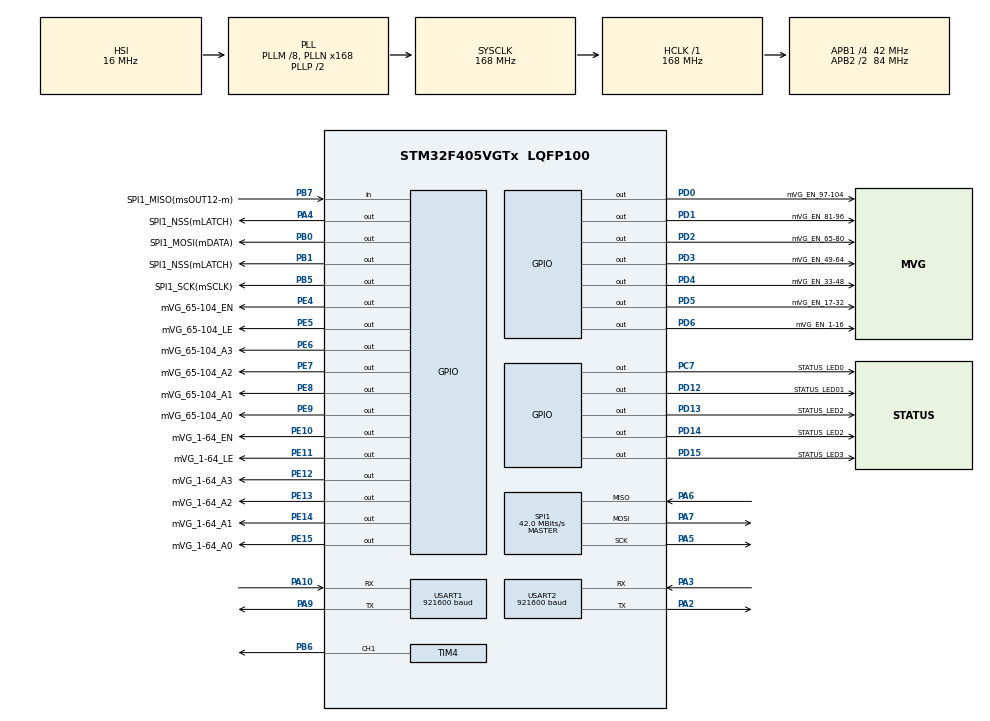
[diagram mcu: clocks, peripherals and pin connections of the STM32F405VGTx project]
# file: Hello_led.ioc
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Dma.Request0=USART2_TX
Dma.Request1=USART2_RX
Dma.USART2_RX.1.Channel=DMA_CHANNEL_4
Dma.USART2_RX.1.Direction=DMA_PERIPH_TO_MEMORY
Dma.USART2_RX.1.FIFOMode=DMA_FIFOMODE_ENABLE
Dma.USART2_RX.1.FIFOThreshold=DMA_FIFO_THRESHOLD_HALFFULL
Dma.USART2_RX.1.Instance=DMA1_Stream5
Dma.USART2_RX.1.MemBurst=DMA_MBURST_SINGLE
Dma.USART2_RX.1.MemDataAlignment=DMA_MDATAALIGN_BYTE
Dma.USART2_RX.1.MemInc=DMA_MINC_ENABLE
Dma.USART2_RX.1.Mode=DMA_NORMAL
Dma.USART2_RX.1.PeriphBurst=DMA_PBURST_SINGLE
Dma.USART2_RX.1.PeriphDataAlignment=DMA_PDATAALIGN_BYTE
Dma.USART2_RX.1.PeriphInc=DMA_PINC_DISABLE
Dma.USART2_RX.1.Priority=DMA_PRIORITY_LOW
Dma.USART2_TX.0.Channel=DMA_CHANNEL_4
Dma.USART2_TX.0.Direction=DMA_MEMORY_TO_PERIPH
Dma.USART2_TX.0.FIFOMode=DMA_FIFOMODE_ENABLE
Dma.USART2_TX.0.FIFOThreshold=DMA_FIFO_THRESHOLD_HALFFULL
Dma.USART2_TX.0.Instance=DMA1_Stream6
Dma.USART2_TX.0.MemBurst=DMA_MBURST_SINGLE
Dma.USART2_TX.0.MemDataAlignment=DMA_MDATAALIGN_BYTE
Dma.USART2_TX.0.MemInc=DMA_MINC_ENABLE
Dma.USART2_TX.0.Mode=DMA_NORMAL
Dma.USART2_TX.0.PeriphBurst=DMA_PBURST_SINGLE
Dma.USART2_TX.0.PeriphDataAlignment=DMA_PDATAALIGN_BYTE
Dma.USART2_TX.0.PeriphInc=DMA_PINC_DISABLE
Dma.USART2_TX.0.Priority=DMA_PRIORITY_LOW
FREERTOS.INCLUDE_eTaskGetState=1
FREERTOS.INCLUDE_vTaskCleanUpResources=1
FREERTOS.INCLUDE_vTaskDelayUntil=1
FREERTOS.INCLUDE_xEventGroupSetBitFromISR=1
FREERTOS.INCLUDE_xTimerPendFunctionCall=1
FREERTOS.Mutexes01=myMutexVsync
FREERTOS.Queues01=myQueueUart,32,uint8_t,NULL
FREERTOS.Tasks01=defaultTask,0,128,StartDefaultTask;myWriteTask,0,128,StartWriteTask;myVsyncTask,0,128,StartVyncTask;myUartTask,2,128,StartUartTask;myTask05,-3,128,StartTask05
FREERTOS.Timers01=myTimer01,Callback01,osTimerPeriodic;myTimer02,HAK_IncTick,osTimerPeriodic
FREERTOS.configUSE_TIMERS=1
Mcu.Family=STM32F4
Mcu.Name=STM32F405VGTx
Mcu.Package=LQFP100
NVIC.DMA1_Stream5_IRQn=true\:5\:0\:false
NVIC.DMA1_Stream6_IRQn=true\:5\:0\:false
NVIC.PriorityGroup=NVIC_PRIORITYGROUP_4
NVIC.RTC_Alarm_IRQn=true\:5\:0\:false
NVIC.RTC_WKUP_IRQn=true\:5\:0\:false
NVIC.SPI1_IRQn=true\:5\:0\:false
NVIC.TIM1_BRK_TIM9_IRQn=true\:5\:0\:false
NVIC.TIM1_CC_IRQn=true\:5\:0\:false
NVIC.TIM1_UP_TIM10_IRQn=true\:5\:0\:false
NVIC.TIM4_IRQn=true\:5\:0\:false
NVIC.TIM5_IRQn=true\:0\:0\:false
NVIC.TIM6_DAC_IRQn=true\:5\:0\:false
NVIC.TIM8_UP_TIM13_IRQn=true\:5\:0\:false
NVIC.TimeBase=TIM5_IRQn
NVIC.TimeBaseIP=TIM5
NVIC.USART1_IRQn=true\:5\:0\:false
NVIC.USART2_IRQn=true\:5\:0\:false
NVIC.WWDG_IRQn=true\:5\:0\:false
PA10.GPIO_Speed=GPIO_SPEED_FAST
PA10.Mode=Asynchronous
PA10.Signal=USART1_RX
PA13.Mode=JTAG(5-pin)
PA13.Signal=SYS_JTMS-SWDIO
PA14.Mode=JTAG(5-pin)
PA14.Signal=SYS_JTCK-SWCLK
PA15.Mode=JTAG(5-pin)
PA15.Signal=SYS_JTDI
PA2.GPIO_Speed=GPIO_SPEED_FAST
PA2.Mode=Asynchronous
PA2.Signal=USART2_TX
PA3.GPIO_Speed=GPIO_SPEED_FAST
PA3.Mode=Asynchronous
PA3.Signal=USART2_RX
PA4.GPIO_Label=SPI1_NSS(mLATCH)
PA4.GPIO_Speed=GPIO_SPEED_HIGH
PA4.Signal=GPIO_Output
PA5.Mode=Full_Duplex_Master
PA5.Signal=SPI1_SCK
PA6.Mode=Full_Duplex_Master
PA6.Signal=SPI1_MISO
PA7.Mode=Full_Duplex_Master
PA7.Signal=SPI1_MOSI
PA9.GPIO_Speed=GPIO_SPEED_FAST
PA9.Mode=Asynchronous
PA9.Signal=USART1_TX
PB0.GPIO_Label=SPI1_MOSI(mDATA)
PB0.GPIO_Speed=GPIO_SPEED_HIGH
PB0.Signal=GPIO_Output
PB1.GPIO_Label=SPI1_NSS(mLATCH)
PB1.GPIO_Speed=GPIO_SPEED_HIGH
PB1.Signal=GPIO_Output
PB3.Mode=JTAG(5-pin)
PB3.Signal=SYS_JTDO-SWO
PB4.Mode=JTAG(5-pin)
PB4.Signal=SYS_JTRST
PB5.GPIO_Label=SPI1_SCK(mSCLK)
PB5.GPIO_Speed=GPIO_SPEED_HIGH
PB5.Signal=GPIO_Output
PB6.Signal=S_TIM4_CH1
PB7.GPIO_Label=SPI1_MISO(msOUT12-m)
PB7.Signal=GPIO_Input
PC7.GPIO_Label=STATUS_LED0
PC7.Signal=GPIO_Output
PD0.GPIO_Label=mVG_EN_97-104
PD0.GPIO_Speed=GPIO_SPEED_HIGH
PD0.Signal=GPIO_Output
PD1.GPIO_Label=mVG_EN_81-96
PD1.GPIO_Speed=GPIO_SPEED_HIGH
PD1.Signal=GPIO_Output
PD12.GPIO_Label=STATUS_LED01
PD12.Signal=GPIO_Output
PD13.GPIO_Label=STATUS_LED2
PD13.Signal=GPIO_Output
PD14.GPIO_Label=STATUS_LED2
PD14.Signal=GPIO_Output
PD15.GPIO_Label=STATUS_LED3
PD15.Signal=GPIO_Output
PD2.GPIO_Label=mVG_EN_65-80
PD2.GPIO_Speed=GPIO_SPEED_HIGH
PD2.Signal=GPIO_Output
PD3.GPIO_Label=mVG_EN_49-64
PD3.GPIO_Speed=GPIO_SPEED_HIGH
PD3.Signal=GPIO_Output
PD4.GPIO_Label=mVG_EN_33-48
PD4.GPIO_Speed=GPIO_SPEED_HIGH
PD4.Signal=GPIO_Output
PD5.GPIO_Label=mVG_EN_17-32
PD5.GPIO_Speed=GPIO_SPEED_HIGH
PD5.Signal=GPIO_Output
PD6.GPIO_Label=mVG_EN_1-16
PD6.GPIO_Speed=GPIO_SPEED_HIGH
PD6.Signal=GPIO_Output
PE10.GPIO_Label=mVG_1-64_EN
PE10.GPIO_Speed=GPIO_SPEED_HIGH
PE10.Signal=GPIO_Output
PE11.GPIO_Label=mVG_1-64_LE
PE11.GPIO_Speed=GPIO_SPEED_HIGH
PE11.Signal=GPIO_Output
PE12.GPIO_Label=mVG_1-64_A3
PE12.GPIO_Speed=GPIO_SPEED_HIGH
PE12.Signal=GPIO_Output
PE13.GPIO_Label=mVG_1-64_A2
PE13.GPIO_Speed=GPIO_SPEED_HIGH
PE13.Signal=GPIO_Output
PE14.GPIO_Label=mVG_1-64_A1
PE14.GPIO_Speed=GPIO_SPEED_HIGH
PE14.Signal=GPIO_Output
PE15.GPIO_Label=mVG_1-64_A0
PE15.GPIO_Speed=GPIO_SPEED_HIGH
PE15.Signal=GPIO_Output
PE4.GPIO_Label=mVG_65-104_EN
PE4.GPIO_Speed=GPIO_SPEED_HIGH
PE4.Signal=GPIO_Output
PE5.GPIO_Label=mVG_65-104_LE
PE5.GPIO_Speed=GPIO_SPEED_HIGH
PE5.Signal=GPIO_Output
PE6.GPIO_Label=mVG_65-104_A3
PE6.GPIO_Speed=GPIO_SPEED_HIGH
PE6.Signal=GPIO_Output
PE7.GPIO_Label=mVG_65-104_A2
PE7.GPIO_Speed=GPIO_SPEED_HIGH
PE7.Signal=GPIO_Output
PE8.GPIO_Label=mVG_65-104_A1
PE8.GPIO_Speed=GPIO_SPEED_HIGH
PE8.Signal=GPIO_Output
PE9.GPIO_Label=mVG_65-104_A0
PE9.GPIO_Speed=GPIO_SPEED_HIGH
PE9.Signal=GPIO_Output
ProjectManager.TargetToolchain=EWARM
RCC.48MHZClocksFreq_Value=48000000
RCC.AHBFreq_Value=168000000
RCC.APB1CLKDivider=RCC_HCLK_DIV4
RCC.APB1Freq_Value=42000000
RCC.APB1TimCLKDivider=1
RCC.APB1TimFreq_Value=42000000
RCC.APB2CLKDivider=RCC_HCLK_DIV2
RCC.APB2Freq_Value=84000000
RCC.APB2TimCLKDivider=1
RCC.APB2TimFreq_Value=84000000
RCC.CortexFreq_Value=168000000
RCC.HCLKFreq_Value=168000000
RCC.HSE_VALUE=4000000
RCC.HSI_VALUE=16000000
RCC.PLLM=8
RCC.PLLN=168
RCC.PLLQ=7
RCC.RCC_MCO1Source=RCC_MCO1SOURCE_HSE
RCC.RCC_MCO2Source=RCC_MCO2SOURCE_HSE
RCC.RCC_RTC_Clock_Source_FROM_HSE=RCC_RTCCLKSOURCE_HSE_DIV31
RCC.SYSCLKFreq_VALUE=168000000
RCC.SYSCLKSource=RCC_SYSCLKSOURCE_PLLCLK
RCC.VCOOutputFreq_Value=336000000
RTC.AlarmDateWeekDaySel=RTC_ALARMDATEWEEKDAYSEL_DATE
RTC.AsynchPrediv=127
RTC.Format=FORMAT_BIN
RTC.Minutes_A=1
RTC.SynchPrediv=255
RTC.WakeUpClock=RTC_WAKEUPCLOCK_CK_SPRE_16BITS
RTC.WakeUpCounter=10
SH.S_TIM4_CH1.0=TIM4_CH1,PWM Generation1 CH1
SPI1.BaudRatePrescaler=SPI_BAUDRATEPRESCALER_2
SPI1.CalculateBaudRate=42.0 MBits/s
SPI1.DataSize=SPI_DATASIZE_16BIT
SPI1.Mode=SPI_MODE_MASTER
USART1.BaudRate=921600
USART2.BaudRate=921600
VP_FREERTOS_VS_ENABLE.Mode=Enabled
VP_IWDG_VS_IWDG.Mode=IWDG_Activate
VP_RTC_VS_RTC_Alarm_A_Intern.Mode=Alarm A
VP_RTC_VS_RTC_WakeUp_intern.Mode=WakeUp
VP_SYS_VS_tim5.Mode=TIM5
VP_TIM10_VS_ClockSourceINT.Mode=Enable_Timer
VP_TIM11_VS_ClockSourceINT.Mode=Enable_Timer
VP_TIM13_VS_ClockSourceINT.Mode=Enable_Timer
VP_TIM1_VS_ClockSourceINT.Mode=Internal
VP_TIM4_VS_ClockSourceITR.Mode=TriggerSource_ITR0
VP_TIM4_VS_ControllerModeClock.Mode=Clock Mode
VP_TIM4_VS_OPM.Mode=OPM_bit
VP_TIM6_VS_ClockSourceINT.Mode=Enable_Timer
VP_TIM7_VS_ClockSourceINT.Mode=Enable_Timer
VP_TIM9_VS_ClockSourceINT.Mode=Internal
VP_WWDG_VS_WWDG.Mode=WWDG_Activate
board=Hello_led

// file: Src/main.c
/**
  ******************************************************************************
  * File Name          : main.c
  * Description        : Main program body
  ******************************************************************************
  *
  * COPYRIGHT(c) 2016 STMicroelectronics
  *
  * Redistribution and use in source and binary forms, with or without modification,
  * are permitted provided that the following conditions are met:
  *   1. Redistributions of source code must retain the above copyright notice,
  *      this list of conditions and the following disclaimer.
  *   2. Redistributions in binary form must reproduce the above copyright notice,
  *      this list of conditions and the following disclaimer in the documentation
  *      and/or other materials provided with the distribution.
  *   3. Neither the name of STMicroelectronics nor the names of its contributors
  *      may be used to endorse or promote products derived from this software
  *      without specific prior written permission.
  *
  * THIS SOFTWARE IS PROVIDED BY THE COPYRIGHT HOLDERS AND CONTRIBUTORS "AS IS"
  * AND ANY EXPRESS OR IMPLIED WARRANTIES, INCLUDING, BUT NOT LIMITED TO, THE
  * IMPLIED WARRANTIES OF MERCHANTABILITY AND FITNESS FOR A PARTICULAR PURPOSE ARE
  * DISCLAIMED. IN NO EVENT SHALL THE COPYRIGHT HOLDER OR CONTRIBUTORS BE LIABLE
  * FOR ANY DIRECT, INDIRECT, INCIDENTAL, SPECIAL, EXEMPLARY, OR CONSEQUENTIAL
  * DAMAGES (INCLUDING, BUT NOT LIMITED TO, PROCUREMENT OF SUBSTITUTE GOODS OR
  * SERVICES; LOSS OF USE, DATA, OR PROFITS; OR BUSINESS INTERRUPTION) HOWEVER
  * CAUSED AND ON ANY THEORY OF LIABILITY, WHETHER IN CONTRACT, STRICT LIABILITY,
  * OR TORT (INCLUDING NEGLIGENCE OR OTHERWISE) ARISING IN ANY WAY OUT OF THE USE
  * OF THIS SOFTWARE, EVEN IF ADVISED OF THE POSSIBILITY OF SUCH DAMAGE.
  *
  ******************************************************************************
  */
#include "stm32f4xx_hal.h"
#include "cmsis_os.h"
#include "dma.h"
#include "iwdg.h"
#include "rtc.h"
#include "spi.h"
#include "tim.h"
#include "usart.h"
#include "wwdg.h"
#include "gpio.h"

/* USER CODE BEGIN Includes */
//	#include <stdio.h>
#include "hal_uart_printf.h"
/* USER CODE END Includes */

/* USER CODE BEGIN PV */
/* Private variables ---------------------------------------------------------*/
HAL_StatusTypeDef shcho_ret = 0;

/* USER CODE END PV */

void SystemClock_Config(void);
void MX_FREERTOS_Init(void);

/* USER CODE BEGIN PFP */
/* Private function prototypes -----------------------------------------------*/

/* USER CODE END PFP */

int main(void)
{

  /* USER CODE BEGIN 1 */
	int ret ;
  /* USER CODE END 1 */

  /* MCU Configuration----------------------------------------------------------*/

  /* Reset of all peripherals, Initializes the Flash interface and the Systick. */
  HAL_Init();

  /* Configure the system clock */
  SystemClock_Config();

  /* Initialize all configured peripherals */
  MX_GPIO_Init();
  MX_DMA_Init();
  MX_IWDG_Init();
  MX_RTC_Init();
  MX_SPI1_Init();
  MX_TIM1_Init();
  MX_TIM4_Init();
  MX_TIM6_Init();
  MX_TIM7_Init();
  MX_TIM9_Init();
  MX_TIM10_Init();
  MX_TIM11_Init();
  MX_TIM13_Init();
  MX_USART1_UART_Init();
  MX_USART2_UART_Init();
  MX_WWDG_Init();

  /* USER CODE BEGIN 2 */
  printf("Hello World! using %s\n", "printf"); //紐⑤�?李랁?��??��.?�?�??�?? Task媛꾩�? ?꽌濡? ?��?��?��??�� ?�?�?? 寃�??�� ??��?�? ??��??��.

//    HAL_UART_Transmit_IT(&huart1, "hi uart1\r\n", 10);
  ret =HAL_UART_Transmit(&huart2, "hi uart2 blocking\n", 18, 2);  //blocking
	if( ret == HAL_TIMEOUT )
		printf("ret from HAL_UART_Transmit (blocking mode): %s\n", "HAL_TIMEOUT");

  HAL_UART_Transmit_IT(&huart2, "hi uart2 IT(non-blocking)\n", 26);  //non blocking

  ret = HAL_UART_Transmit_DMA(&huart2, "hi uart2 DMA\n", 13);  // HAL_BUSY
	if( ret == HAL_BUSY )
	{
		HAL_UART_Transmit_IT(&huart2,"HAL_BUSY\n",9 );
		printf("ret from HAL_UART_Transmit_DMA: %s\n", "HAL_BUSY");
	}

  /* Disable the write protection for RTC registers */
  __HAL_RTC_WRITEPROTECTION_DISABLE(&hrtc);

  hrtc.Instance->CR |=  (uint32_t)RTC_CR_WUTE;

  /* Enable the write protection for RTC registers */
  __HAL_RTC_WRITEPROTECTION_ENABLE(&hrtc);

  /* USER CODE END 2 */

  /* Call init function for freertos objects (in freertos.c) */
  MX_FREERTOS_Init();

  /* Start scheduler */
  osKernelStart();

  /* We should never get here as control is now taken by the scheduler */

  /* Infinite loop */
  while (1)
  {

  }

}

/** System Clock Configuration
*/
void SystemClock_Config(void)
{

  RCC_OscInitTypeDef RCC_OscInitStruct;
  RCC_ClkInitTypeDef RCC_ClkInitStruct;
  RCC_PeriphCLKInitTypeDef PeriphClkInitStruct;

  __PWR_CLK_ENABLE();

  __HAL_PWR_VOLTAGESCALING_CONFIG(PWR_REGULATOR_VOLTAGE_SCALE1);

  RCC_OscInitStruct.OscillatorType = RCC_OSCILLATORTYPE_HSI|RCC_OSCILLATORTYPE_LSI;
  RCC_OscInitStruct.HSIState = RCC_HSI_ON;
  RCC_OscInitStruct.HSICalibrationValue = 16;
  RCC_OscInitStruct.LSIState = RCC_LSI_ON;
  RCC_OscInitStruct.PLL.PLLState = RCC_PLL_ON;
  RCC_OscInitStruct.PLL.PLLSource = RCC_PLLSOURCE_HSI;
  RCC_OscInitStruct.PLL.PLLM = 8;
  RCC_OscInitStruct.PLL.PLLN = 168;
  RCC_OscInitStruct.PLL.PLLP = RCC_PLLP_DIV2;
  RCC_OscInitStruct.PLL.PLLQ = 7;
  HAL_RCC_OscConfig(&RCC_OscInitStruct);

  RCC_ClkInitStruct.ClockType = RCC_CLOCKTYPE_HCLK|RCC_CLOCKTYPE_SYSCLK
                              |RCC_CLOCKTYPE_PCLK1|RCC_CLOCKTYPE_PCLK2;
  RCC_ClkInitStruct.SYSCLKSource = RCC_SYSCLKSOURCE_PLLCLK;
  RCC_ClkInitStruct.AHBCLKDivider = RCC_SYSCLK_DIV1;
  RCC_ClkInitStruct.APB1CLKDivider = RCC_HCLK_DIV4;
  RCC_ClkInitStruct.APB2CLKDivider = RCC_HCLK_DIV2;
  HAL_RCC_ClockConfig(&RCC_ClkInitStruct, FLASH_LATENCY_5);

  PeriphClkInitStruct.PeriphClockSelection = RCC_PERIPHCLK_RTC;
  PeriphClkInitStruct.RTCClockSelection = RCC_RTCCLKSOURCE_LSI;
  HAL_RCCEx_PeriphCLKConfig(&PeriphClkInitStruct);

  HAL_SYSTICK_Config(HAL_RCC_GetHCLKFreq()/1000);

  HAL_SYSTICK_CLKSourceConfig(SYSTICK_CLKSOURCE_HCLK);

  /* SysTick_IRQn interrupt configuration */
  HAL_NVIC_SetPriority(SysTick_IRQn, 15, 0);
}

/************************ (C) COPYRIGHT STMicroelectronics *****END OF FILE****/

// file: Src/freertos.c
/**
  ******************************************************************************
  * File Name          : freertos.c
  * Description        : Code for freertos applications
  ******************************************************************************
  *
  * COPYRIGHT(c) 2016 STMicroelectronics
  *
  * Redistribution and use in source and binary forms, with or without modification,
  * are permitted provided that the following conditions are met:
  *   1. Redistributions of source code must retain the above copyright notice,
  *      this list of conditions and the following disclaimer.
  *   2. Redistributions in binary form must reproduce the above copyright notice,
  *      this list of conditions and the following disclaimer in the documentation
  *      and/or other materials provided with the distribution.
  *   3. Neither the name of STMicroelectronics nor the names of its contributors
  *      may be used to endorse or promote products derived from this software
  *      without specific prior written permission.
  *
  * THIS SOFTWARE IS PROVIDED BY THE COPYRIGHT HOLDERS AND CONTRIBUTORS "AS IS"
  * AND ANY EXPRESS OR IMPLIED WARRANTIES, INCLUDING, BUT NOT LIMITED TO, THE
  * IMPLIED WARRANTIES OF MERCHANTABILITY AND FITNESS FOR A PARTICULAR PURPOSE ARE
  * DISCLAIMED. IN NO EVENT SHALL THE COPYRIGHT HOLDER OR CONTRIBUTORS BE LIABLE
  * FOR ANY DIRECT, INDIRECT, INCIDENTAL, SPECIAL, EXEMPLARY, OR CONSEQUENTIAL
  * DAMAGES (INCLUDING, BUT NOT LIMITED TO, PROCUREMENT OF SUBSTITUTE GOODS OR
  * SERVICES; LOSS OF USE, DATA, OR PROFITS; OR BUSINESS INTERRUPTION) HOWEVER
  * CAUSED AND ON ANY THEORY OF LIABILITY, WHETHER IN CONTRACT, STRICT LIABILITY,
  * OR TORT (INCLUDING NEGLIGENCE OR OTHERWISE) ARISING IN ANY WAY OUT OF THE USE
  * OF THIS SOFTWARE, EVEN IF ADVISED OF THE POSSIBILITY OF SUCH DAMAGE.
  *
  ******************************************************************************
  */

#include "FreeRTOS.h"
#include "task.h"
#include "cmsis_os.h"

/* USER CODE BEGIN Includes */
//  #include <stdio.h>
#include "stm32f_shcho.h"

/* USER CODE END Includes */

osThreadId defaultTaskHandle;
osThreadId myWriteTaskHandle;
osThreadId myVsyncTaskHandle;
osThreadId myUartTaskHandle;
osThreadId myTask05Handle;
osMessageQId myQueueUartHandle;
osTimerId myTimer01Handle;
osTimerId myTimer02Handle;
osMutexId myMutexVsyncHandle;

/* USER CODE BEGIN Variables */
osThreadId LEDThread1Handle, LEDThread2Handle;
extern RTC_HandleTypeDef hrtc;
extern UART_HandleTypeDef  huart2;

/* USER CODE END Variables */

void StartDefaultTask(void const * argument);
void StartWriteTask(void const * argument);
void StartVyncTask(void const * argument);
void StartUartTask(void const * argument);
void StartTask05(void const * argument);
void Callback01(void const * argument);
void HAK_IncTick(void const * argument);

void MX_FREERTOS_Init(void); /* (MISRA C 2004 rule 8.1) */

/* USER CODE BEGIN FunctionPrototypes */
static void LED_Thread1(void const *argument);
static void LED_Thread2(void const *argument);

/* USER CODE END FunctionPrototypes */

/* Hook prototypes */

/* Init FreeRTOS */

void MX_FREERTOS_Init(void) {

  /* Create the mutex(es) */
  /* definition and creation of myMutexVsync */
  osMutexDef(myMutexVsync);
  myMutexVsyncHandle = osMutexCreate(osMutex(myMutexVsync));

  /* Create the timer(s) */
  /* definition and creation of myTimer01 */
  osTimerDef(myTimer01, Callback01);
  myTimer01Handle = osTimerCreate(osTimer(myTimer01), osTimerPeriodic, NULL);

  /* definition and creation of myTimer02 */
  osTimerDef(myTimer02, HAK_IncTick);
  myTimer02Handle = osTimerCreate(osTimer(myTimer02), osTimerPeriodic, NULL);

  /* Create the thread(s) */
  /* definition and creation of defaultTask */
  osThreadDef(defaultTask, StartDefaultTask, osPriorityNormal, 0, 128);
  defaultTaskHandle = osThreadCreate(osThread(defaultTask), NULL);

  /* definition and creation of myWriteTask */
  osThreadDef(myWriteTask, StartWriteTask, osPriorityNormal, 0, 128);
  myWriteTaskHandle = osThreadCreate(osThread(myWriteTask), NULL);

  /* definition and creation of myVsyncTask */
  osThreadDef(myVsyncTask, StartVyncTask, osPriorityNormal, 0, 128);
  myVsyncTaskHandle = osThreadCreate(osThread(myVsyncTask), NULL);

  /* definition and creation of myUartTask */
  osThreadDef(myUartTask, StartUartTask, osPriorityHigh, 0, 128);
  myUartTaskHandle = osThreadCreate(osThread(myUartTask), NULL);

  /* definition and creation of myTask05 */
  osThreadDef(myTask05, StartTask05, osPriorityIdle, 0, 128);
  myTask05Handle = osThreadCreate(osThread(myTask05), NULL);

  /* USER CODE BEGIN RTOS_THREADS */
  /* add threads, ... */

  /* Configure LED1 and LED3 */
  BSP_LED_Init(LED1);
  BSP_LED_Init(LED3);
  BSP_LED_Init(LED2);
  BSP_LED_Init(LED4);
  BSP_LED_Off(LED2);
  BSP_LED_Off(LED4);

  /* Thread 1 definition */
  osThreadDef(LED1, LED_Thread1, osPriorityNormal, 0, configMINIMAL_STACK_SIZE);

   /*  Thread 2 definition */
  osThreadDef(LED3, LED_Thread2, osPriorityNormal, 0, configMINIMAL_STACK_SIZE);

  /* Start thread 1 */
  LEDThread1Handle = osThreadCreate (osThread(LED1), NULL);

  /* Start thread 2 */
  LEDThread2Handle = osThreadCreate (osThread(LED3), NULL);

  /* USER CODE END RTOS_THREADS */

  /* Create the queue(s) */
  /* definition and creation of myQueueUart */
  osMessageQDef(myQueueUart, 32, uint8_t);
  myQueueUartHandle = osMessageCreate(osMessageQ(myQueueUart), NULL);

}

/* StartDefaultTask function */
void StartDefaultTask(void const * argument)
{

  for(;;)
  {
    osDelay(1);
  }
}

/* StartWriteTask function */
void StartWriteTask(void const * argument)
{
  for(;;)
  {
    osDelay(1);
  }
}

/* StartVyncTask function */
void StartVyncTask(void const * argument)
{
  for(;;)
  {
    osDelay(1);
  }
}

/* StartUartTask function */
void StartUartTask(void const * argument)
{
  for(;;)
  {
    osDelay(1);
  }
}

/* StartTask05 function */
void StartTask05(void const * argument)
{
  for(;;)
  {
    osDelay(1);
  }
}

/* Callback01 function */
void Callback01(void const * argument)
{
}

/* HAK_IncTick function */
void HAK_IncTick(void const * argument)
{
}

/* USER CODE BEGIN Application */

/**
  * @brief  Toggle LED1 and LED4 thread
  * @param  thread not used
  * @retval None
  */
static void LED_Thread1(void const *argument)
{
  uint32_t count = 0;
  (void) argument;
	uint32_t count1 = 0;
	RTC_TimeTypeDef sTime;
	RTC_DateTypeDef sDate;

  for(;;)
  {
    count = osKernelSysTick() + 4800;

		count1 = 0 ;
    /* Toggle LED1 every 200 ms for 4.8 s */
    while (count >= osKernelSysTick())
    {
      BSP_LED_Toggle(LED1);
      osDelay(200);

     	printf("1-1=%d.\n",count1++);
    }

    /* Turn off LED1 */
    BSP_LED_Off(LED1);

    /* Suspend Thread 1 */
    osThreadSuspend(NULL);

    count = osKernelSysTick() + 4800;

		count1 = 0 ;
    /* Toggle LED1 every 400 ms for 4.8 s */
    while (count >= osKernelSysTick())
    {
      BSP_LED_Toggle(LED1);
      osDelay(400);

     	printf("1-2=%d.\n",count1++);
    }
    printf("======================================\n");

  		HAL_RTC_GetTime( &hrtc, &sTime, FORMAT_BCD);
  		HAL_RTC_GetDate( &hrtc, &sDate, FORMAT_BCD);
  		printf("Date=%d:%d:%d:%d\n", sTime.Hours, sTime.Minutes, sTime.Seconds, sTime.SubSeconds);
    /* Resume Thread 2*/
    osThreadResume(LEDThread2Handle);

  }
}

/**
  * @brief  Toggle LED3 thread
  * @param  argument not used
  * @retval None
  */
static void LED_Thread2(void const *argument)
{
  uint32_t count;
  (void) argument;
  uint32_t count2;
	uint8_t	buffer[12] = {0,};
	uint32_t ret;

  for(;;)
  {
    count = osKernelSysTick() + 10000;

		count2 = 0 ;
    /* Toggle LED3 every 500 ms for 10 s */
    while (count >= osKernelSysTick())
    {
      BSP_LED_Toggle(LED3);
      osDelay(500);

			printf("        2=%d\n",count2++);

    }
		printf("Type Command: ");
		ret = HAL_UART_Receive_IT(&huart2, buffer,1);

		if( ret != HAL_OK )
		{
			printf("HAL_UART_Receive_IT is not HAL_OK\n");
		}
		else
		{
			printf("Receive Data=%c\n",buffer[0]);
		}

    /* Turn off LED3 */
    BSP_LED_Off(LED3);

    /* Resume Thread 1 */
    osThreadResume(LEDThread1Handle);

    /* Suspend Thread 2 */
    osThreadSuspend(NULL);
  }
}
/* USER CODE END Application */

/************************ (C) COPYRIGHT STMicroelectronics *****END OF FILE****/
